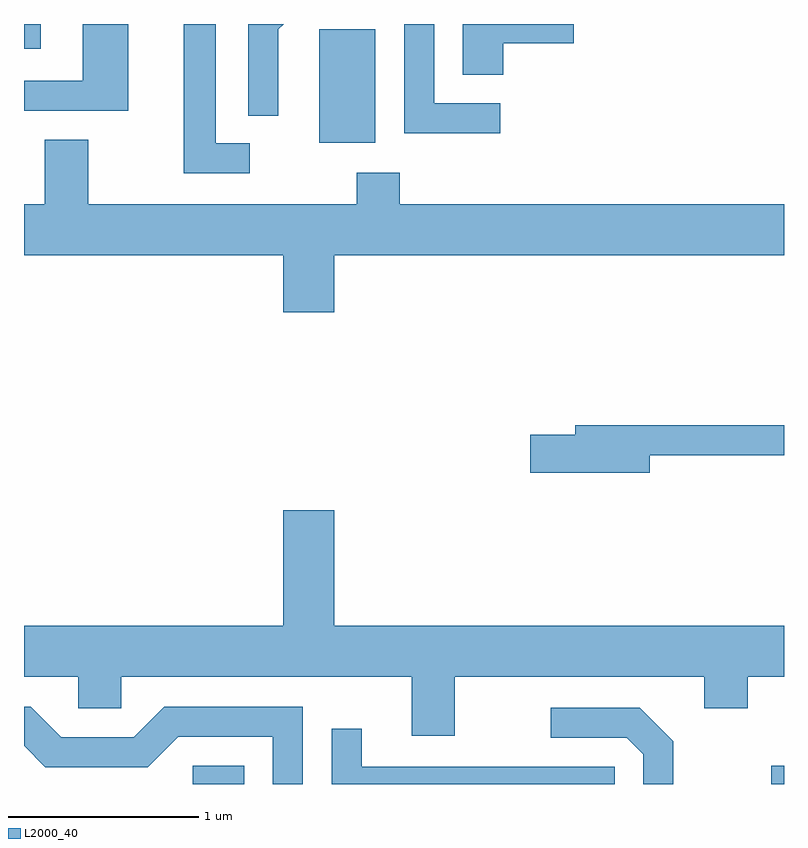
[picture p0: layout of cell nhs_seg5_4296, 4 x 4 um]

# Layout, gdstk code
import gdstk
lib = gdstk.Library(unit=1e-6, precision=1e-09)
def R(c, l, rs):  # rectangles x0, y0, x1, y1
    for r in rs: c.add(gdstk.rectangle(r[:2], r[2:], *l))
def P(c, l, *ps):  # polygons
    for p in ps: c.add(gdstk.Polygon(p, *l))
L2000_40 = (2000, 40)

nhs_seg5_4296 = lib.new_cell('nhs_seg5_4296')
R(nhs_seg5_4296, L2000_40, [(314.498,1394.072,314.769,1394.169), (317.543,1394.072,317.611,1394.169), (315.166,1397.446,315.459,1398.044), (313.611,1397.943,313.699,1398.072)])
P(nhs_seg5_4296, L2000_40, [(314.798,1397.444),(314.619,1397.444),(314.619,1398.072),(314.451,1398.072),(314.451,1397.286),(314.798,1397.286)],
  [(316.118,1397.654),(315.769,1397.654),(315.769,1398.072),(315.611,1398.072),(315.611,1397.496),(316.118,1397.496)],
  [(314.949,1398.044),(314.977,1398.072),(314.791,1398.072),(314.791,1397.588),(314.949,1397.588)],
  [(314.159,1398.072),(313.921,1398.072),(313.921,1397.774),(313.611,1397.774),(313.611,1397.616),(314.159,1397.616)],
  [(316.134,1397.971),(316.504,1397.971),(316.504,1398.072),(315.921,1398.072),(315.921,1397.806),(316.134,1397.806)],
  [(315.244,1396.856),(317.611,1396.856),(317.611,1397.124),(315.589,1397.124),(315.589,1397.289),(315.361,1397.289),(315.361,1397.124),(313.949,1397.124),(313.949,1397.464),(313.721,1397.464),(313.721,1397.124),(313.611,1397.124),(313.611,1396.856),(314.976,1396.856),(314.976,1396.556),(315.244,1396.556)],
  [(316.904,1395.801),(317.611,1395.801),(317.611,1395.959),(316.511,1395.959),(316.511,1395.909),(316.276,1395.909),(316.276,1395.711),(316.904,1395.711)],
  [(315.879,1394.636),(317.191,1394.636),(317.191,1394.471),(317.419,1394.471),(317.419,1394.636),(317.611,1394.636),(317.611,1394.904),(315.244,1394.904),(315.244,1395.514),(314.976,1395.514),(314.976,1394.904),(313.611,1394.904),(313.611,1394.636),(313.896,1394.636),(313.896,1394.471),(314.124,1394.471),(314.124,1394.636),(315.651,1394.636),(315.651,1394.326),(315.879,1394.326)],
  [(315.079,1394.479),(314.349,1394.479),(314.189,1394.319),(313.807,1394.319),(313.647,1394.479),(313.611,1394.479),(313.611,1394.274),(313.724,1394.161),(314.262,1394.161),(314.422,1394.321),(314.921,1394.321),(314.921,1394.072),(315.079,1394.072)],
  [(317.029,1394.297),(316.852,1394.474),(316.383,1394.474),(316.383,1394.316),(316.784,1394.316),(316.871,1394.229),(316.871,1394.072),(317.029,1394.072)],
  [(316.719,1394.164),(315.389,1394.164),(315.389,1394.363),(315.231,1394.363),(315.231,1394.072),(316.719,1394.072)])

lib.write_gds('nhs_seg5_4296.gds')
